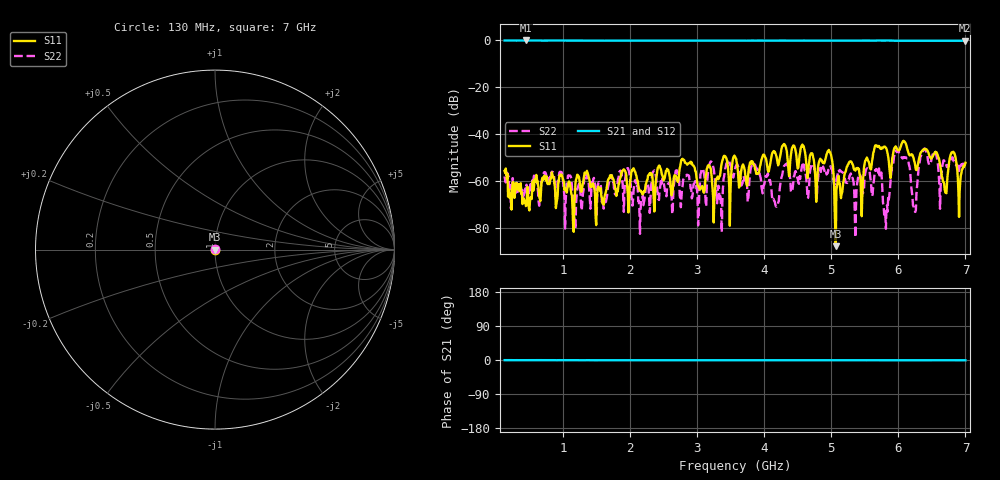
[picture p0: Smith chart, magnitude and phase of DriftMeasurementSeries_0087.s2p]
# Hz S RI R 50.000000
! Metas.Vna.Tools, 2.8.8664.20301
! Metas.Vna.Data, 2.8.8664.20285
! Created: UTC 2024.02.11 10:08:47
! FREQ  re:S1,1  im:S1,1  re:S2,1  im:S2,1  re:S1,2  im:S1,2  re:S2,2  im:S2,2
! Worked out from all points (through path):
!   801 points, 130 MHz to 7 GHz, reference 50 ohm
!   highest |S21| = -0.05 dB at 447.7 MHz (marker M1); lowest = -0.2 dB at 6.991 GHz (marker M2)
!   lowest |S11| = -87.7 dB at 5.068 GHz (marker M3), VSWR 1.00, Z = 50 + j0.00102 ohm
!   |S11| at or under -10 dB: start of sweep to end of sweep
!   |S22| runs from -84.0 to -46.1 dB; largest |S21 - S12| = 0.021
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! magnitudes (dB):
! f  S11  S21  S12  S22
! 130 MHz  -55.6  -0.1  0.0  -58.0
! 447.7 MHz  -70.7  -0.1  0.0  -63.6
! 1.281 GHz  -64.3  -0.1  0.0  -72.6
! 2.423 GHz  -54.0  -0.1  0.0  -67.6
! 3.256 GHz  -68.3  -0.1  0.0  -56.7
! 3.35 GHz  -55.6  -0.1  0.0  -67.3
! 3.565 GHz  -49.5  -0.1  0.0  -54.9
! 4.183 GHz  -49.5  -0.1  0.0  -70.9
! 4.312 GHz  -44.7  -0.1  0.0  -53.1
! 4.716 GHz  -48.2  -0.1  0.0  -52.6
! 4.973 GHz  -47.4  -0.1  0.0  -55.1
! 5.068 GHz  -87.7  -0.1  0.0  -64.4
! 5.274 GHz  -51.7  -0.1  0.0  -57.6
! 5.858 GHz  -51.6  -0.1  0.0  -67.9
! 5.978 GHz  -46.2  -0.1  0.0  -47.7
! 6.236 GHz  -51.3  -0.1  0.0  -72.5
! 6.373 GHz  -46.5  -0.1  0.0  -47.0
! 6.691 GHz  -63.3  -0.1  0.0  -52.0
! 6.802 GHz  -47.7  -0.1  0.0  -49.9
! 6.906 GHz  -75.3  -0.1  0.0  -55.7
! 6.991 GHz  -53.2  -0.2  0.0  -54.2
! 7 GHz  -52.2  -0.2  0.0  -54.4
